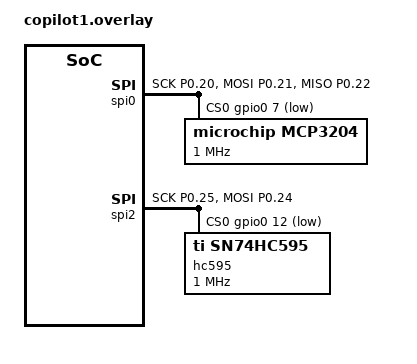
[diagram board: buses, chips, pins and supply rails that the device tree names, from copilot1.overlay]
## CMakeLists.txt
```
# SPDX-License-Identifier: Apache-2.0

#cmake_minimum_required(VERSION 3.20.0)

find_package(Zephyr REQUIRED HINTS $ENV{ZEPHYR_BASE})
#project(dynamic_pinctrl_xiao_nrf)

target_sources(app PRIVATE src/dynamic_pinctrl.c)
```

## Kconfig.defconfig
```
if SHIELD_DYNAMIC_PINCTL_SPI

    config ZMK_KEYBOARD_NAME
        default "DYNAMIC_PINCTLS"

    config ZMK_BLE
        bool
        default y

endif
```

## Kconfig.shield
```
# No whitespace after the comma or in your keyboard name!
config SHIELD_DYNAMIC_PINCTL_SPI
    def_bool $(shields_list_contains,dynamic-pinctl-spi)
```

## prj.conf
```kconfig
# CONFIG_PINCTRL=y
# CONFIG_PINCTRL_DYNAMIC=y
# # configure serial and console to come after remap hook
# CONFIG_SERIAL_INIT_PRIORITY=60
# CONFIG_CONSOLE_INIT_PRIORITY=70
```

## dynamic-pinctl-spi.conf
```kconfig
CONFIG_ZMK_BLE=y

# ---------------------------------------------
# debug (/dev/ttyACM* <-- usb-serial)
# ---------------------------------------------
CONFIG_LOG_PROCESS_THREAD_STARTUP_DELAY_MS=3000


# ---------------------------------------------
# dynamic-pinctl
# ---------------------------------------------
CONFIG_PINCTRL=y
CONFIG_PINCTRL_DYNAMIC=y

# ---------------------------------------------
# mcp3204
# ---------------------------------------------
CONFIG_ADC_MCP320X=y
CONFIG_ADC_INIT_PRIORITY=80

# ---------------------------------------------
# zmk-analog-input-driver
# ---------------------------------------------
# Enable Analog Input
CONFIG_ADC=y
# Use async mode (Optional)
#CONFIG_ADC_ASYNC=y

# Enable Analog Input Module
CONFIG_ANALOG_INPUT=y
CONFIG_ANALOG_INPUT_LOG_LEVEL_DBG=y
# CONFIG_ANALOG_INPT_REPORT_INTERVAL_MIN=22

# Enable logging for pre/post processed value
CONFIG_ANALOG_INPUT_LOG_DBG_RAW=y
CONFIG_ANALOG_INPUT_LOG_DBG_REPORT=y


CONFIG_INPUT=y
CONFIG_ZMK_POINTING=y

# to use hooks for pm_device_action_run() 
CONFIG_PM_DEVICE=y
CONFIG_ANALOG_INPUT_ADC_READ_HOOKS=y
```

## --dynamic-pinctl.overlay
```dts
#include <dt-bindings/zmk/matrix_transform.h>

/ {
    kscan0: kscan0 {
        compatible = "zmk,kscan-gpio-matrix";
        diode-direction = "col2row";
        wakeup-source;

        col-gpios
            = <&xiao_d 0 GPIO_ACTIVE_HIGH>
            , <&xiao_d 1 GPIO_ACTIVE_HIGH>
            ;

        row-gpios
            = <&xiao_d 2 (GPIO_ACTIVE_HIGH | GPIO_PULL_DOWN)>
            , <&xiao_d 3 (GPIO_ACTIVE_HIGH | GPIO_PULL_DOWN)>
            ;
    };

    default_transform: keymap_transform0 {
        compatible = "zmk,matrix-transform";
        columns = <2>;
        rows = <2>;
        map = <
            RC(0,0) RC(0,1)
            RC(1,0) RC(1,1)
        >;
    };

    chosen {
        zmk,kscan = &kscan0;
        zmk,matrix_transform = &default_transform;
    };
};

// ---------------------------------------------
// for dynamic-pinctl (to swap pins for uart0)
// ---------------------------------------------
#include <zephyr/dt-bindings/input/input-event-codes.h> // `zephyr,code`

/ {
	zephyr,user {
		uart0_alt_default = <&uart0_alt_default>;
		uart0_alt_sleep = <&uart0_alt_sleep>;
	};
};

&pinctrl {
	/* Alternative pin configuration for UART0 */
	uart0_alt_default: uart0_alt_default {
		group1 {
			psels = <NRF_PSEL(UART_TX, 0, 26)>;  // TXD: P0.26 (XIAO led0:red)
		};
		group2 {
			psels = <NRF_PSEL(UART_RX, 1, 15)>;  // RXD: P1.15 (XIAO #11 D10)
			bias-pull-up;
		};
	};

	uart0_alt_sleep: uart0_alt_sleep {
		group1 {
			psels = <NRF_PSEL(UART_TX, 0, 26)>,  // TXD: P1.14 (XIAO #10 D9)
				<NRF_PSEL(UART_RX, 1, 15)>;      // RXD: P1.15 (XIAO #11 D10)
			low-power-enable;
		};
	};

   xiao_serial {

    };
};

/ {
    sw0: sw0 {
        compatible = "gpio-key";
        gpios = <&gpio0 4 GPIO_ACTIVE_LOW>;
        label = "Push Switch";
        zephyr,code = <INPUT_KEY_0>; // optional, for input subsystem
    };

    aliases {
        sw0 = &sw0;
    };
};

/*
/ {
    sw0: ext_switch_0 {
        compatible = "gpio-key";
        gpios = <&gpio0 4 GPIO_ACTIVE_LOW>;  // P0.04, active low (change to ACTIVE_HIGH if needed)
        label = "Push Switch";
        zephyr,code = <INPUT_KEY_0>;     // optional, for input subsystem
    };

    aliases {
        sw0 = &sw0;
    };
};

*/
```

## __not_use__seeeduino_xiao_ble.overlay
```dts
/*
 * This dts based on zmk/zephyr/samples/boards/nrf/dynamic_pinctrl/boards/nrf52840dk_nrf52840.overlay
 *
 */
#include <zephyr/dt-bindings/input/input-event-codes.h> // `zephyr,code`

/ {
	zephyr,user {
		uart0_alt_default = <&uart0_alt_default>;
		uart0_alt_sleep = <&uart0_alt_sleep>;
	};
};

&pinctrl {
	/* Alternative pin configuration for UART0 */
	uart0_alt_default: uart0_alt_default {
		group1 {
			psels = <NRF_PSEL(UART_TX, 0, 2)>;  // TXD: P0.02 (XIAO #1 D0)
		};
		group2 {
			psels = <NRF_PSEL(UART_RX, 0, 3)>;  // RXD: P0.03 (XIAO #2 D1)
			bias-pull-up;
		};
	};

	uart0_alt_sleep: uart0_alt_sleep {
		group1 {
			psels = <NRF_PSEL(UART_TX, 0, 2)>,  // TXD: P0.02 (XIAO #1 D0)
				<NRF_PSEL(UART_RX, 0, 3)>;      // RXD: P0.03 (XIAO #2 D1)
			low-power-enable;
		};
	};

	buttons {
		compatible = "gpio-keys";
		button0: button_0 {
			gpios = <&gpio0 28 (GPIO_PULL_UP | GPIO_ACTIVE_LOW)>;   // P0.28 (XIAO #3 D2)
			label = "Push button switch 0";
			zephyr,code = <INPUT_KEY_0>;
		};
	};

	aliases {
		sw0 = &button0;
    };

    xiao_serial {

    };
};
```

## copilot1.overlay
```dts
// -----------------------------------------------------------------
// https://github.com/copilot/c/31896ecd-97bc-4999-8f19-620870fcd210
// -----------------------------------------------------------------
&spi0 {
    compatible = "nordic,nrf-spim";
    status = "okay";
    pinctrl-0 = <&spi0_default>;
    pinctrl-1 = <&spi0_sleep>;
    pinctrl-names = "default", "sleep";
    cs-gpios = <&gpio0 7 GPIO_ACTIVE_LOW>;
    mcp3204: mcp3204@0 {
        compatible = "microchip,mcp3204";
        reg = <0>;
        spi-max-frequency = <1000000>;
    };
};

&spi2 {
    compatible = "nordic,nrf-spim";
    status = "okay";
    pinctrl-0 = <&spi2_default>;
    pinctrl-1 = <&spi2_sleep>;
    pinctrl-names = "default", "sleep";
    cs-gpios = <&gpio0 12 GPIO_ACTIVE_LOW>;
    hc595: hc595@0 {
        compatible = "ti,sn74hc595";
        reg = <0>;
        spi-max-frequency = <1000000>;
    };
};

&pinctrl {
    spi0_default: spi0_default {
        group1 {
            psels = <NRF_PSEL(SPIM_SCK, 0, 20)>,
                    <NRF_PSEL(SPIM_MOSI, 0, 21)>,
                    <NRF_PSEL(SPIM_MISO, 0, 22)>;
        };
    };
    
    spi0_sleep: spi0_sleep {
        group1 {
            psels = <NRF_PSEL(SPIM_SCK, 0, 20)>,
                    <NRF_PSEL(SPIM_MOSI, 0, 21)>,
                    <NRF_PSEL(SPIM_MISO, 0, 22)>;
            low-power-enable;
        };
    };
    
    spi2_default: spi2_default {
        group1 {
            psels = <NRF_PSEL(SPIM_SCK, 0, 25)>,
                    <NRF_PSEL(SPIM_MOSI, 0, 24)>;
            /* Note: No MISO configured for SPI2 */
        };
    };
    
    spi2_sleep: spi2_sleep {
        group1 {
            psels = <NRF_PSEL(SPIM_SCK, 0, 25)>,
                    <NRF_PSEL(SPIM_MOSI, 0, 24)>;
            low-power-enable;
        };
    };
};
```

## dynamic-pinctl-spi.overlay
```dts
#include <dt-bindings/zmk/matrix_transform.h>
#include <zephyr/dt-bindings/input/input-event-codes.h>
#include <input/processors.dtsi>
#include <physical_layouts.dtsi>

&xiao_i2c { status = "disabled"; };

// zmk.studio:  comment-out
// usb-logging: comment-out
// &xiao_serial { status = "disabled"; };

/ {
    chosen {
        zmk,physical-layout = &physical_layout;
    };

    physical_layout: physical_layout {
        compatible = "zmk,physical-layout";
        display-name = "Default Layout";
        kscan = <&kscan0>;
        transform = <&default_transform>;
        keys                    //  w   h   x   y  rot rx ry
            = <&key_physical_attrs 100 100   0   0  0   0  0>
            , <&key_physical_attrs 100 100 100   0  0   0  0>
            , <&key_physical_attrs 100 100 200   0  0   0  0>
            , <&key_physical_attrs 100 100 300   0  0   0  0>
            , <&key_physical_attrs 100 100 400   0  0   0  0>
            , <&key_physical_attrs 100 100 500   0  0   0  0>
            , <&key_physical_attrs 100 100 600   0  0   0  0>
            , <&key_physical_attrs 100 100 700   0  0   0  0>

            , <&key_physical_attrs 100 100   0 100  0   0  0>
            , <&key_physical_attrs 100 100 100 100  0   0  0>
            , <&key_physical_attrs 100 100 200 100  0   0  0>
            , <&key_physical_attrs 100 100 300 100  0   0  0>
            , <&key_physical_attrs 100 100 400 100  0   0  0>
            , <&key_physical_attrs 100 100 500 100  0   0  0>
            , <&key_physical_attrs 100 100 600 100  0   0  0>
            , <&key_physical_attrs 100 100 700 100  0   0  0>

            , <&key_physical_attrs 100 100   0 200  0   0  0>
            , <&key_physical_attrs 100 100 100 200  0   0  0>
            , <&key_physical_attrs 100 100 200 200  0   0  0>
            , <&key_physical_attrs 100 100 300 200  0   0  0>
            , <&key_physical_attrs 100 100 400 200  0   0  0>
            , <&key_physical_attrs 100 100 500 200  0   0  0>
            , <&key_physical_attrs 100 100 600 200  0   0  0>
            , <&key_physical_attrs 100 100 700 200  0   0  0>
            ;
    };

    default_transform: keymap_transform0 {
        compatible = "zmk,matrix-transform";
        columns = <8>;
        rows = <3>;
        map = <
RC(0,0) RC(0,1) RC(0,2) RC(0,3) RC(0,4) RC(0,5) RC(0,6) RC(0,7)
RC(1,0) RC(1,1) RC(1,2) RC(1,3) RC(1,4) RC(1,5) RC(1,6) RC(1,7)
RC(2,0) RC(2,1) RC(2,2) RC(2,3) RC(2,4) RC(2,5) RC(2,6) RC(2,7)
        >;
    };

    kscan0: kscan0 {
        compatible = "zmk,kscan-gpio-matrix";
        diode-direction = "col2row";
        wakeup-source;

        col-gpios
            = <&shifter 1 GPIO_ACTIVE_HIGH>         // col0: 1st 595 #1(QB) -> 1
            , <&shifter 2 GPIO_ACTIVE_HIGH>         // col1: 1st 595 #2(QC) -> 2
            , <&shifter (8*1+1) GPIO_ACTIVE_HIGH>   // col2: 2nd 595 #1(QB) -> 8*1+1=9
            , <&shifter (8*1+2) GPIO_ACTIVE_HIGH>   // col3: 2nd 595 #2(QC) -> 8*1+2=10
            , <&shifter (8*2+1) GPIO_ACTIVE_HIGH>   // col2: 3rd 595 #1(QB) -> 8*2+1=17
            , <&shifter (8*2+2) GPIO_ACTIVE_HIGH>   // col3: 3rd 595 #2(QC) -> 8*2+2=18
            , <&shifter (8*3+1) GPIO_ACTIVE_HIGH>   // col2: 4th 595 #1(QB) -> 8*3+1=25
            , <&shifter (8*3+2) GPIO_ACTIVE_HIGH>   // col3: 4th 595 #2(QC) -> 8*3+2=26
            ;

        row-gpios
            = <&xiao_d 0 (GPIO_ACTIVE_HIGH | GPIO_PULL_DOWN)>
            , <&xiao_d 1 (GPIO_ACTIVE_HIGH | GPIO_PULL_DOWN)>
            // , <&xiao_d 2 (GPIO_ACTIVE_HIGH | GPIO_PULL_DOWN)>
            ;
    };

};

// -------------------------------
// spi0: 74hc595, pmw3610
// spi2: mcp320x
// -------------------------------
&pinctrl {
    spi0_default: spi0_default {                // for 595s and pmw3610, during operation
        group1 {
            psels                               //       XIAO                595      pmw3610-pcb   mcp320x
                = <NRF_PSEL(SPIM_SCK,  0, 5)>   // #6 (D5/SCL, P0.05) --> #11 (SRCLK)  #4 (SCLK)   #11 (CLK)
                , <NRF_PSEL(SPIM_MOSI, 0, 4)>   // #5 (D4/SDA, P0.04) --> #14 (SER)    #3 (SDIO)    #9 (Din)
                , <NRF_PSEL(SPIM_MISO, 0, 4)>   // #5 (D4/SDA, P0.04) --> #14 (SER)    #3 (SDIO)    #9 (Din*)   *: so do NOT assert /CS
                ;
        };
    };
    spi0_sleep: spi0_sleep {                    // for 595s and pmw3610, during sleep
        group1 {
            psels                               //       XIAO                595      pmw3610-pcb   mcp320x
                = <NRF_PSEL(SPIM_SCK,  0, 5)>   // #6 (D5/SCL, P0.05) --> #11 (SRCLK)  #4 (SCLK)   #11 (CLK)
                , <NRF_PSEL(SPIM_MOSI, 0, 4)>   // #5 (D4/SDA, P0.04) --> #14 (SER)    #3 (SDIO)    #9 (Din)
                , <NRF_PSEL(SPIM_MISO, 0, 4)>   // #5 (D4/SDA, P0.04) --> #14 (SER)    #3 (SDIO)    #9 (Din*)   *: so do NOT assert /CS
                ;
            low-power-enable;
        };
    };

    spi2_default: spi2_default {                // for mcp320x, during operation
        group1 {
            psels                               //       XIAO                595      pmw3610-pcb   mcp320x
                = <NRF_PSEL(SPIM_SCK,  0, 5)>   // #6 (D5/SCL, P0.05) --> #11 (SRCLK)  #4 (SCLK)   #11 (CLK)
                , <NRF_PSEL(SPIM_MOSI, 0, 4)>   // #5 (D4/SDA, P0.04) --> #14 (SER)    #3 (SDIO)    #9 (Din)
                , <NRF_PSEL(SPIM_MISO, 0,28)>   // #3 (D2,     P0.28) -->   (N.C.)       (N.C.)    #10 (Dout)
                // = <NRF_PSEL(SPIM_SCK,  0, 6)>   // #6 (D5/SCL, P0.05) --> #11 (SRCLK)  #4 (SCLK)   #11 (CLK)
                // , <NRF_PSEL(SPIM_MOSI, 0,26)>   // #5 (D4/SDA, P0.04) --> #14 (SER)    #3 (SDIO)    #9 (Din)
                // , <NRF_PSEL(SPIM_MISO, 0,28)>   // #3 (D2,     P0.28) -->   (N.C.)       (N.C.)    #10 (Dout)
                ;
        };
    };
    spi2_sleep: spi2_sleep {                    // for mcp320x, during sleep
        group1 {
            psels                               //       XIAO                595      pmw3610-pcb   mcp320x
                = <NRF_PSEL(SPIM_SCK,  0, 5)>   // #6 (D5/SCL, P0.05) --> #11 (SRCLK)  #4 (SCLK)   #11 (CLK)
                , <NRF_PSEL(SPIM_MOSI, 0, 4)>   // #5 (D4/SDA, P0.04) --> #14 (SER)    #3 (SDIO)    #9 (Din)
                , <NRF_PSEL(SPIM_MISO, 0,28)>   // #3 (D2,     P0.28) -->   (N.C.)       (N.C.)    #10 (Dout)
                ;
            low-power-enable;
        };
    };

};

&spi0 {                                         // for 595s and pmw3610
    compatible = "nordic,nrf-spim";
    status = "okay";
    pinctrl-0 = <&spi0_default>;
    pinctrl-1 = <&spi0_sleep>;
    pinctrl-names = "default", "sleep";
	cs-gpios = <&xiao_d  3 GPIO_ACTIVE_LOW>     // XIAO  #4 (D3,  P0.29) --> 595         #12 (RCLK)
             , <&xiao_d  6 GPIO_ACTIVE_LOW>     // XIAO  #7 (D6,  P1.11) --> pmw3610-pcb  #5 (nCS)
             ;

	shifter: 595@0 {
		compatible = "zmk,gpio-595";
		status = "okay";
		reg = <0>;
		gpio-controller;
		spi-max-frequency = <300000>;
		#gpio-cells = <2>;
		ngpios = <(8*4)>;                       // 595 x4
	};

    trackball: trackball@1 {
        compatible = "pixart,pmw3610";
        status = "okay";
        reg = <1>;
        spi-max-frequency = <2000000>;
        //          XIAO #8 (D7/RX, P1.12) --> pmw3610-pcb #6 (MOTION)
        irq-gpios = <&xiao_d 7 (GPIO_ACTIVE_LOW | GPIO_PULL_UP)>;
        cpi = <600>;
        evt-type = <INPUT_EV_REL>;
        x-input-code = <INPUT_REL_X>;
        y-input-code = <INPUT_REL_Y>;
    };

};

&spi2 {                                         // for mcp320x
    compatible = "nordic,nrf-spim";
    status = "okay";
    pinctrl-0 = <&spi2_default>;
    pinctrl-1 = <&spi2_sleep>;
    pinctrl-names = "default", "sleep";
	cs-gpios =  <&xiao_d 10 GPIO_ACTIVE_LOW>;   // XIAO #11 (D10, P1.15) --> mcp3204 #8 (/CS)

    adcx: mcp3204@0 {
        compatible = "microchip,mcp3204";
        status = "okay";
        reg = <0>;
        spi-max-frequency = <400000>;  // ok
     // spi-max-frequency = <100000>;  // NG
        #io-channel-cells = <1>;
     // duplex = <0>;                       // 0(default): full-duplex, 2048: half-duplex
                                            // but choose 0 because mcp320x does NOT support half-duplex
    };

};

// -----------------------
// trackball
// -----------------------
/ {
    trackball_listener {
        compatible = "zmk,input-listener";
        status = "okay";
        device = <&trackball>;
    };

};

// -----------------------
// analog pad
// -----------------------
#include <zephyr/dt-bindings/input/input-event-codes.h>
/* Reference: https://docs.zephyrproject.org/apidoc/latest/group__input__events.html */

/ {
	anin0: analog_input_0 {
		compatible = "zmk,analog-input";
        status = "okay";
		sampling-hz = <100>;

		x-ch {
            io-channels = <&adcx 0>;     // ch1
			mv-mid = <1630>;
			mv-min-max = <1600>;
			mv-deadzone = <10>;
			scale-multiplier = <1>;
			scale-divisor = <70>;
			invert;
			evt-type = <INPUT_EV_REL>;
			input-code = <INPUT_REL_X>;
		};

		y-ch {
            io-channels = <&adcx 1>;     // ch2
			mv-mid = <1630>;
			mv-min-max = <1600>;
			mv-deadzone = <10>;
			scale-multiplier = <3>;
			scale-divisor = <4>;
			invert;
			evt-type = <INPUT_EV_REL>;
			input-code = <INPUT_REL_Y>;

			/* enable report mdoe for gamepad axix or knob */
			/* to only call input_report on quantquantized value is updated */
			/* NOTE: mouse input does NOT need this */
			// report-on-change-only;
		};
	};

};

// -----------------------
// encoder
// -----------------------

/*
/ {
    left_encoder: encoder_left {
        compatible = "alps,ec11";
        status = "okay";
        a-gpios = <&xiao_d 8 (GPIO_ACTIVE_HIGH | GPIO_PULL_UP)>;
        b-gpios = <&xiao_d 9 (GPIO_ACTIVE_HIGH | GPIO_PULL_UP)>;
        steps = <24>;           // mouse encoder
    };

    sensors: sensors {
        compatible = "zmk,keymap-sensors";
        sensors = <&left_encoder>;
        triggers-per-rotation = <12>;
    };

};
*/
```

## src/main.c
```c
/*
 * Copyright (c) 2021 Nordic Semiconductor ASA
 *
 * SPDX-License-Identifier: Apache-2.0
 */

#include <zephyr/kernel.h>      // k_msleep
#include <zephyr/sys/printk.h>

int main(void)
{
    while(1) {
        printk("Hello World!\n");
		k_msleep(500);
    }
	return 0;
}
```

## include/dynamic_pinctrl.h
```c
extern void adc_read_before_hook(void);
extern void adc_read_after_hook(void);
```

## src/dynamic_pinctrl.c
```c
#include <zephyr/kernel.h>      // k_msleep
#include <zephyr/sys/printk.h>

void adc_read_before_hook(void) {
  
}
void adc_read_after_hook(void) {
  
}
```

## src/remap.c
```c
/*
 * Copyright (c) 2021 Nordic Semiconductor ASA
 *
 * SPDX-License-Identifier: Apache-2.0
 */

#include <zephyr/init.h>
#include <zephyr/drivers/gpio.h>
#include <zephyr/drivers/pinctrl.h>

/* make sure devices and remap hook are initialized in the correct order */
BUILD_ASSERT((CONFIG_GPIO_INIT_PRIORITY < CONFIG_REMAP_INIT_PRIORITY) &&
	     (CONFIG_REMAP_INIT_PRIORITY < CONFIG_SERIAL_INIT_PRIORITY),
	     "Device driver priorities are not set correctly");

PINCTRL_DT_DEV_CONFIG_DECLARE(DT_NODELABEL(uart0));

/* UART0 alternative configurations (default and sleep states) */
PINCTRL_DT_STATE_PINS_DEFINE(DT_PATH(zephyr_user), uart0_alt_default);
#ifdef CONFIG_PM_DEVICE
PINCTRL_DT_STATE_PINS_DEFINE(DT_PATH(zephyr_user), uart0_alt_sleep);
#endif

static const struct pinctrl_state uart0_alt[] = {
	PINCTRL_DT_STATE_INIT(uart0_alt_default, PINCTRL_STATE_DEFAULT),
#ifdef CONFIG_PM_DEVICE
	PINCTRL_DT_STATE_INIT(uart0_alt_sleep, PINCTRL_STATE_SLEEP),
#endif
};

#include <zephyr/kernel.h>  // printk

static int remap_pins(void)
{
	int ret;
    printk("-- enter: remap_pins()\n");     // NG

	const struct gpio_dt_spec button = GPIO_DT_SPEC_GET_OR(DT_ALIAS(sw0),
							       gpios, {0});


	if (!gpio_is_ready_dt(&button)) {
		return -ENODEV;
	}

	ret = gpio_pin_configure_dt(&button, GPIO_INPUT);
	if (ret < 0) {
		return ret;
	}

	/* remap UART0 pins if button is pressed */
	if (gpio_pin_get_dt(&button)) {
		struct pinctrl_dev_config *uart0_config =
			PINCTRL_DT_DEV_CONFIG_GET(DT_NODELABEL(uart0));

		return pinctrl_update_states(uart0_config, uart0_alt,
					     ARRAY_SIZE(uart0_alt));

	}

    printk("-- exit: remap_pins()\n");  // NG
	return 0;
}

SYS_INIT(remap_pins, PRE_KERNEL_1, CONFIG_REMAP_INIT_PRIORITY);
```
